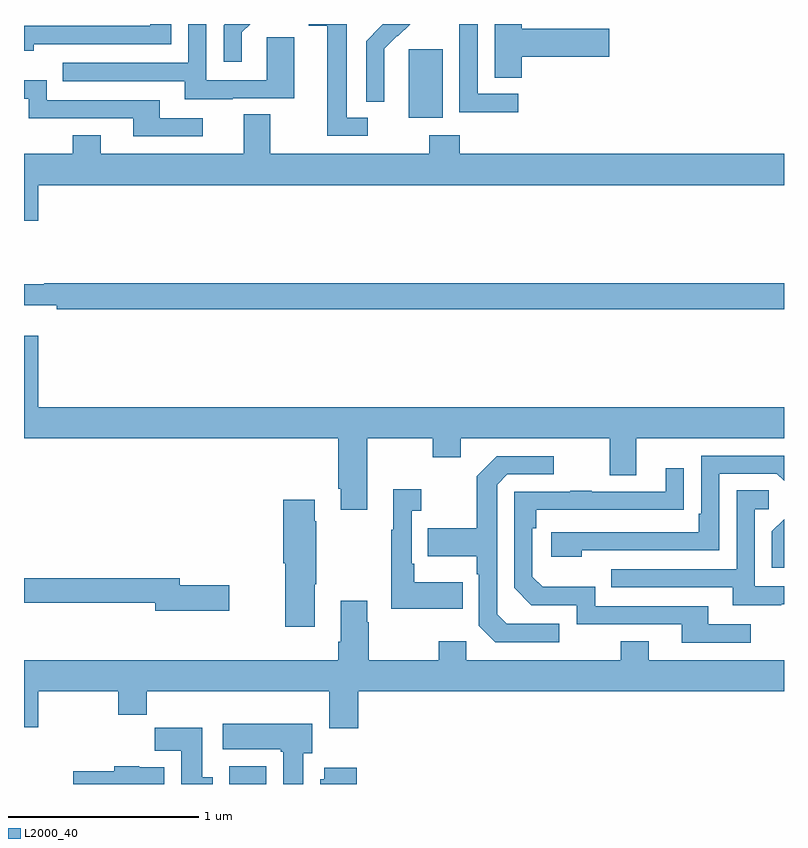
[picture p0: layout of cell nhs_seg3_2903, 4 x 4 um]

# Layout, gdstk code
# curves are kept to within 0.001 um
import gdstk
lib = gdstk.Library(unit=1e-6, precision=1e-09)
def R(c, l, rs):  # rectangles x0, y0, x1, y1
    for r in rs: c.add(gdstk.rectangle(r[:2], r[2:], *l))
def P(c, l, *ps):  # polygons
    for p in ps: c.add(gdstk.Polygon(p, *l))
L2000_40 = (2000, 40)

nhs_seg3_2903 = lib.new_cell('nhs_seg3_2903')
R(nhs_seg3_2903, L2000_40, [(262.079,728.4,262.275,728.494), (263.024,731.906,263.203,732.267)])
P(nhs_seg3_2903, L2000_40, [(263.621,732.227),(264.079,732.227),(264.079,732.374),(263.621,732.374),(263.621,732.4),(263.477,732.4),(263.477,732.118),(263.621,732.118)],
  [(262.81,731.907),(262.699,731.907),(262.699,732.4),(262.499,732.4),(262.499,732.392),(262.595,732.392),(262.595,731.811),(262.81,731.811)],
  [(262.147,732.357),(262.19,732.4),(262.056,732.4),(262.05,732.394),(262.05,732.201),(262.147,732.201)],
  [(263.602,732.033),(263.388,732.033),(263.388,732.4),(263.29,732.4),(263.29,732.364),(263.292,732.364),(263.292,731.935),(263.602,731.935)],
  [(262.896,732.146),(262.895,732.146),(262.895,732.269),(262.965,732.339),(262.968,732.336),(263.032,732.4),(262.888,732.4),(262.872,732.384),(262.873,732.383),(262.8,732.31),(262.8,731.992),(262.896,731.992)],
  [(261.05,732.294),(261.774,732.294),(261.774,732.4),(261.665,732.4),(261.665,732.39),(261,732.39),(261,732.26),(261.05,732.26)],
  [(262.099,732.009),(262.423,732.009),(262.423,732.329),(262.278,732.329),(262.278,732.105),(261.96,732.105),(261.96,732.4),(261.864,732.4),(261.864,732.195),(261.205,732.195),(261.205,732.099),(261.845,732.099),(261.845,732.005),(262.099,732.005)],
  [(261.94,731.904),(261.715,731.904),(261.715,732),(261.12,732),(261.12,732.103),(261,732.103),(261,732.006),(261.024,732.006),(261.024,731.904),(261.575,731.904),(261.575,731.808),(261.94,731.808)],
  [(261.076,731.552),(265,731.552),(265,731.716),(263.294,731.716),(263.294,731.815),(263.134,731.815),(263.134,731.716),(262.297,731.716),(262.297,731.924),(262.157,731.924),(262.157,731.716),(261.403,731.716),(261.403,731.815),(261.256,731.815),(261.256,731.716),(261,731.716),(261,731.364),(261.076,731.364)],
  [(265,731.036),(261.107,731.036),(261.107,731.029),(261,731.029),(261,730.919),(261.172,730.919),(261.172,730.9),(265,730.9)],
  [(262.807,730.22),(263.152,730.22),(263.152,730.121),(263.299,730.121),(263.299,730.22),(264.083,730.22),(264.083,730.026),(264.223,730.026),(264.223,730.22),(265,730.22),(265,730.384),(261.076,730.384),(261.076,730.759),(261,730.759),(261,730.22),(262.655,730.22),(262.655,729.955),(262.667,729.955),(262.667,729.843),(262.807,729.843)],
  [(263.936,729.63),(264.66,729.63),(264.66,730.032),(264.963,730.032),(265,729.995),(265,730.127),(264.564,730.128),(264.564,729.823),(264.551,729.823),(264.551,729.726),(263.775,729.726),(263.775,729.596),(263.936,729.596)],
  [(263.818,729.243),(263.541,729.243),(263.49,729.294),(263.49,729.975),(263.544,730.029),(263.788,730.029),(263.788,730.125),(263.487,730.125),(263.382,730.019),(263.382,729.747),(263.125,729.747),(263.125,729.599),(263.382,729.599),(263.382,729.503),(263.394,729.503),(263.394,729.234),(263.481,729.147),(263.818,729.147)],
  [(264.826,729.24),(264.601,729.24),(264.601,729.336),(264.006,729.336),(264.006,729.439),(263.729,729.439),(263.676,729.492),(263.676,729.746),(263.696,729.746),(263.696,729.843),(264.473,729.844),(264.473,730.063),(264.377,730.063),(264.377,729.939),(263.987,729.939),(263.987,729.944),(263.875,729.944),(263.875,729.939),(263.58,729.939),(263.58,729.432),(263.67,729.342),(263.91,729.342),(263.91,729.24),(264.461,729.24),(264.461,729.144),(264.826,729.144)],
  [(263.309,729.463),(263.053,729.463),(263.053,729.559),(263.04,729.559),(263.04,729.839),(263.092,729.839),(263.092,729.952),(262.943,729.952),(262.943,729.739),(262.932,729.739),(262.932,729.323),(263.309,729.323)],
  [(264.985,729.345),(265,729.345),(265,729.441),(264.846,729.441),(264.846,729.846),(264.919,729.846),(264.919,729.947),(264.75,729.947),(264.75,729.531),(264.091,729.531),(264.091,729.435),(264.731,729.435),(264.731,729.341),(264.985,729.341)],
  [(262.531,729.451),(262.539,729.451),(262.539,729.782),(262.531,729.782),(262.531,729.895),(262.364,729.895),(262.364,729.561),(262.376,729.561),(262.376,729.228),(262.531,729.228)],
  [(265,729.794),(264.936,729.73),(264.936,729.537),(265,729.537)],
  [(262.081,729.446),(261.82,729.446),(261.82,729.482),(261,729.482),(261,729.354),(261.692,729.354),(261.692,729.311),(262.081,729.311)],
  [(262.76,728.888),(265,728.888),(265,729.052),(264.289,729.052),(264.289,729.151),(264.142,729.151),(264.142,729.052),(263.328,729.052),(263.328,729.151),(263.182,729.151),(263.182,729.052),(262.815,729.052),(262.815,729.251),(262.807,729.251),(262.807,729.364),(262.667,729.364),(262.667,729.148),(262.655,729.148),(262.655,729.052),(261,729.052),(261,728.7),(261.076,728.7),(261.076,728.888),(261.496,728.888),(261.496,728.764),(261.647,728.764),(261.647,728.888),(262.607,728.888),(262.607,728.694),(262.76,728.694)],
  [(262.471,728.562),(262.516,728.562),(262.516,728.716),(262.047,728.716),(262.047,728.582),(262.351,728.582),(262.351,728.569),(262.364,728.569),(262.364,728.4),(262.471,728.4)],
  [(261.994,728.436),(261.937,728.436),(261.937,728.695),(261.688,728.695),(261.688,728.576),(261.827,728.576),(261.827,728.4),(261.994,728.4)],
  [(261.739,728.488),(261.606,728.488),(261.606,728.494),(261.476,728.494),(261.476,728.466),(261.258,728.466),(261.258,728.4),(261.739,728.4)],
  [(262.751,728.485),(262.58,728.485),(262.58,728.424),(262.559,728.424),(262.559,728.4),(262.751,728.4)])

lib.write_gds('nhs_seg3_2903.gds')
